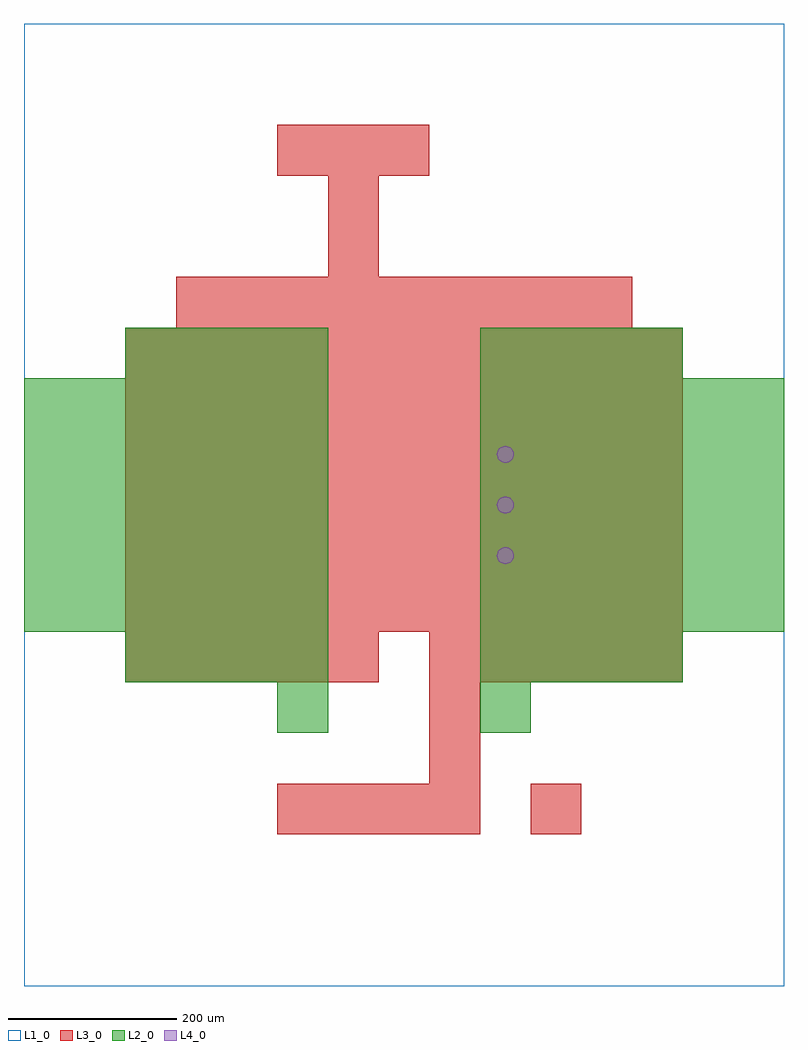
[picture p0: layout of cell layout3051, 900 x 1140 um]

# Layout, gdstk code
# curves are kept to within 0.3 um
import gdstk
lib = gdstk.Library(unit=1e-6, precision=1e-09)
def R(c, l, rs):  # rectangles x0, y0, x1, y1
    for r in rs: c.add(gdstk.rectangle(r[:2], r[2:], *l))
def A(c, l, x, y, w, h, nx, ny, dx, dy):  # array of equal rectangles
    R(c, l, [(x+i*dx, y+j*dy, x+i*dx+w, y+j*dy+h) for i in range(nx) for j in range(ny)])
def P(c, l, *ps):  # polygons
    for p in ps: c.add(gdstk.Polygon(p, *l))
L1_0 = (1, 0)
L2_0 = (2, 0)
L3_0 = (3, 0)
L4_0 = (4, 0)

layout3051 = lib.new_cell('layout3051')
R(layout3051, L1_0, [(0,0,900,1140)])
A(layout3051, L2_0, 120, 360, 60, 60, 4, 2, 60, 360)
A(layout3051, L2_0, 540, 360, 60, 60, 4, 2, 60, 360)
A(layout3051, L2_0, 0, 420, 60, 60, 6, 5, 60, 60)
A(layout3051, L2_0, 540, 420, 60, 60, 6, 5, 60, 60)
R(layout3051, L2_0, [(300,300,360,360), (540,300,600,360)])
A(layout3051, L3_0, 300, 180, 60, 60, 4, 1, 60, 0)
A(layout3051, L3_0, 120, 360, 60, 60, 5, 1, 60, 0)
A(layout3051, L3_0, 480, 360, 60, 60, 5, 1, 60, 0)
A(layout3051, L3_0, 120, 420, 60, 60, 11, 6, 60, 60)
A(layout3051, L3_0, 180, 780, 60, 60, 9, 1, 60, 0)
A(layout3051, L3_0, 300, 960, 60, 60, 3, 1, 60, 0)
R(layout3051, L3_0, [(600,180,660,240), (480,240,540,300), (480,300,540,360), (360,840,420,900), (360,900,420,960)])
P(layout3051, L4_0, [(580,510),(579.239,513.827),(577.071,517.071),(573.827,519.239),(570,520),(566.173,519.239),(562.929,517.071),(560.761,513.827),(560,510),(560.761,506.173),(562.929,502.929),(566.173,500.761),(570,500),(573.827,500.761),(577.071,502.929),(579.239,506.173)],
  [(580,570),(579.239,573.827),(577.071,577.071),(573.827,579.239),(570,580),(566.173,579.239),(562.929,577.071),(560.761,573.827),(560,570),(560.761,566.173),(562.929,562.929),(566.173,560.761),(570,560),(573.827,560.761),(577.071,562.929),(579.239,566.173)],
  [(580,630),(579.239,633.827),(577.071,637.071),(573.827,639.239),(570,640),(566.173,639.239),(562.929,637.071),(560.761,633.827),(560,630),(560.761,626.173),(562.929,622.929),(566.173,620.761),(570,620),(573.827,620.761),(577.071,622.929),(579.239,626.173)])

lib.write_gds('layout3051.gds')
